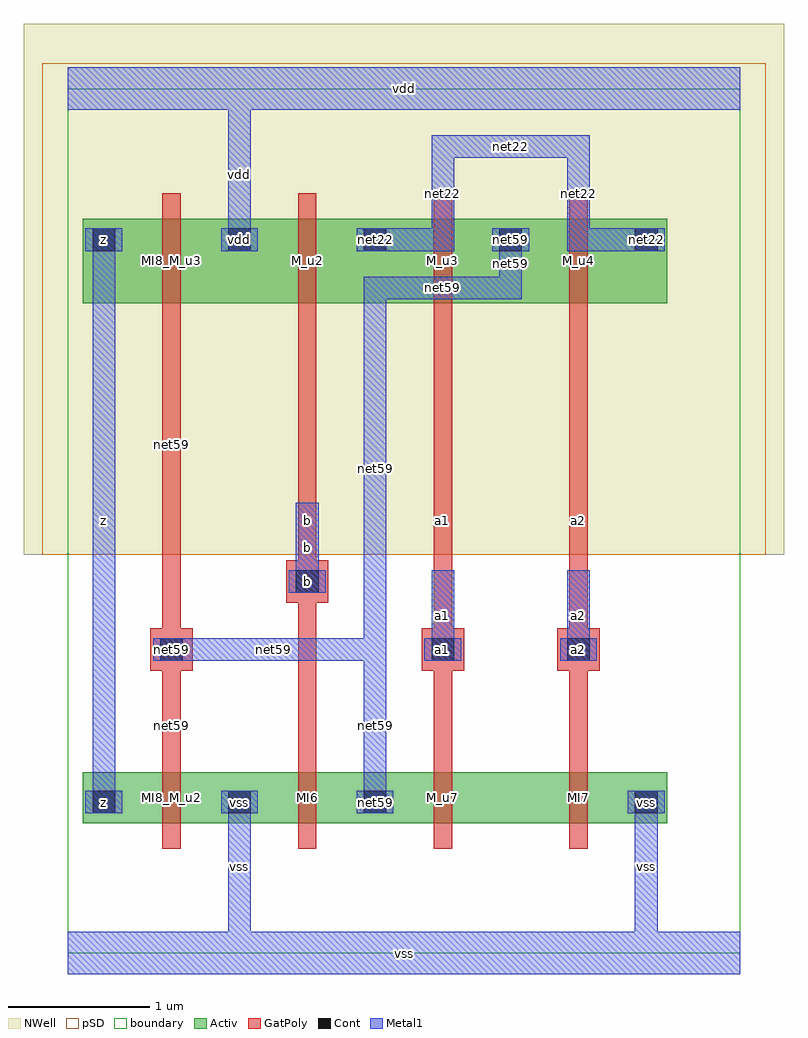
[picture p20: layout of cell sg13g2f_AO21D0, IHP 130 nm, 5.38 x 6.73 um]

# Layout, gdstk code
import gdstk
lib = gdstk.Library(unit=1e-6, precision=1e-09)
def R(c, l, rs):  # rectangles x0, y0, x1, y1
    for r in rs: c.add(gdstk.rectangle(r[:2], r[2:], *l))
def A(c, l, x, y, w, h, nx, ny, dx, dy):  # array of equal rectangles
    R(c, l, [(x+i*dx, y+j*dy, x+i*dx+w, y+j*dy+h) for i in range(nx) for j in range(ny)])
Activ = (1, 0)
GatPoly = (5, 0)
Cont = (6, 0)
Metal1 = (8, 0)
pSD = (14, 0)
NWell = (31, 0)
TEXT = (63, 0)
boundary = (189, 4)

sg13g2f_ao21d0 = lib.new_cell('sg13g2f_AO21D0')
A(sg13g2f_ao21d0, Activ, 0.105, 0.92, 1.26, 0.36, 4, 1, 0.96, 0)
A(sg13g2f_ao21d0, Activ, 0.105, 0.92, 0.3, 0.3, 3, 1, 0.96, 0)
A(sg13g2f_ao21d0, Activ, 0.105, 4.6, 1.26, 0.6, 4, 1, 0.96, 0)
A(sg13g2f_ao21d0, Activ, 0.105, 4.9, 0.3, 0.3, 5, 1, 0.96, 0)
R(sg13g2f_ao21d0, Activ, [(3.945,0.92,4.245,1.22)])
A(sg13g2f_ao21d0, GatPoly, 0.67, 0.74, 0.13, 0.72, 4, 1, 0.96, 0)
A(sg13g2f_ao21d0, GatPoly, 1.63, 1.005, 0.13, 4.11, 3, 1, 0.96, 0)
A(sg13g2f_ao21d0, GatPoly, 0.67, 4.42, 0.13, 0.96, 4, 1, 0.96, 0)
R(sg13g2f_ao21d0, GatPoly, [(0.67,1.005,0.8,2.215), (0.585,2,0.885,2.3), (2.505,2,2.805,2.3), (3.465,2,3.765,2.3), (0.67,2.085,0.8,5.115), (1.545,2.48,1.845,2.78)])
A(sg13g2f_ao21d0, Cont, 0.175, 0.99, 0.16, 0.16, 3, 1, 0.96, 0)
A(sg13g2f_ao21d0, Cont, 0.175, 4.97, 0.16, 0.16, 5, 1, 0.96, 0)
R(sg13g2f_ao21d0, Cont, [(4.015,0.99,4.175,1.15), (0.655,2.07,0.815,2.23), (2.575,2.07,2.735,2.23), (3.535,2.07,3.695,2.23), (1.615,2.55,1.775,2.71)])
A(sg13g2f_ao21d0, Metal1, 0.125, 0.99, 0.26, 0.16, 3, 1, 0.96, 0)
A(sg13g2f_ao21d0, Metal1, 0.125, 4.97, 0.26, 0.16, 5, 1, 0.96, 0)
R(sg13g2f_ao21d0, Metal1, [(0,-0.15,4.76,0.15), (1.135,0.07,1.295,1.15), (4.015,0.07,4.175,1.15), (0.175,0.99,0.335,5.13), (2.095,0.99,2.255,2.23), (3.965,0.99,4.225,1.15), (0.605,2.07,0.865,2.23), (0.655,2.07,2.255,2.23), (2.095,2.07,2.255,4.79), (2.525,2.07,2.785,2.23), (2.575,2.07,2.735,2.71), (3.485,2.07,3.745,2.23), (3.535,2.07,3.695,2.71), (1.565,2.55,1.825,2.71), (1.615,2.55,1.775,3.19), (2.095,4.63,3.215,4.79), (3.055,4.63,3.215,5.13), (1.135,4.97,1.295,6.05), (2.095,4.97,2.735,5.13), (2.575,4.97,2.735,5.79), (3.535,4.97,4.175,5.13), (3.535,4.97,3.695,5.79), (2.575,5.63,3.695,5.79), (0,5.97,4.76,6.27)])
R(sg13g2f_ao21d0, pSD, [(-0.18,2.82,4.94,5.94), (-0.18,5.94,4.94,6.3)])
R(sg13g2f_ao21d0, NWell, [(-0.31,2.82,5.07,6.58)])
R(sg13g2f_ao21d0, boundary, [(0,0,4.76,6.12)])
sg13g2f_ao21d0.add(gdstk.FlexPath([(0.105,0.41),(4.245,0.41)], 0, ends="flush", simple_path=True, layer=63, datatype=0))  # TEXT
sg13g2f_ao21d0.add(gdstk.FlexPath([(0.105,1.07),(4.245,1.07)], 0, ends="flush", simple_path=True, layer=63, datatype=0))  # TEXT
sg13g2f_ao21d0.add(gdstk.FlexPath([(0.105,1.49),(4.245,1.49)], 0, ends="flush", simple_path=True, layer=63, datatype=0))  # TEXT
sg13g2f_ao21d0.add(gdstk.FlexPath([(0.105,2.15),(4.245,2.15)], 0, ends="flush", simple_path=True, layer=63, datatype=0))  # TEXT
sg13g2f_ao21d0.add(gdstk.FlexPath([(0.105,2.63),(4.245,2.63)], 0, ends="flush", simple_path=True, layer=63, datatype=0))  # TEXT
sg13g2f_ao21d0.add(gdstk.FlexPath([(0.105,3.11),(4.245,3.11)], 0, ends="flush", simple_path=True, layer=63, datatype=0))  # TEXT
sg13g2f_ao21d0.add(gdstk.FlexPath([(0.105,4.15),(4.245,4.15)], 0, ends="flush", simple_path=True, layer=63, datatype=0))  # TEXT
sg13g2f_ao21d0.add(gdstk.FlexPath([(0.105,4.71),(4.245,4.71)], 0, ends="flush", simple_path=True, layer=63, datatype=0))  # TEXT
sg13g2f_ao21d0.add(gdstk.FlexPath([(0.105,5.05),(4.245,5.05)], 0, ends="flush", simple_path=True, layer=63, datatype=0))  # TEXT
sg13g2f_ao21d0.add(gdstk.FlexPath([(0.105,5.71),(4.245,5.71)], 0, ends="flush", simple_path=True, layer=63, datatype=0))  # TEXT
sg13g2f_ao21d0.add(gdstk.FlexPath([(0.255,0.07),(0.255,6.05)], 0, ends="flush", simple_path=True, layer=63, datatype=0))  # TEXT
sg13g2f_ao21d0.add(gdstk.FlexPath([(0.735,0.07),(0.735,6.05)], 0, ends="flush", simple_path=True, layer=63, datatype=0))  # TEXT
sg13g2f_ao21d0.add(gdstk.FlexPath([(1.215,0.07),(1.215,6.05)], 0, ends="flush", simple_path=True, layer=63, datatype=0))  # TEXT
sg13g2f_ao21d0.add(gdstk.FlexPath([(1.695,0.07),(1.695,6.05)], 0, ends="flush", simple_path=True, layer=63, datatype=0))  # TEXT
sg13g2f_ao21d0.add(gdstk.FlexPath([(2.175,0.07),(2.175,6.05)], 0, ends="flush", simple_path=True, layer=63, datatype=0))  # TEXT
sg13g2f_ao21d0.add(gdstk.FlexPath([(2.655,0.07),(2.655,6.05)], 0, ends="flush", simple_path=True, layer=63, datatype=0))  # TEXT
sg13g2f_ao21d0.add(gdstk.FlexPath([(3.135,0.07),(3.135,6.05)], 0, ends="flush", simple_path=True, layer=63, datatype=0))  # TEXT
sg13g2f_ao21d0.add(gdstk.FlexPath([(3.615,0.07),(3.615,6.05)], 0, ends="flush", simple_path=True, layer=63, datatype=0))  # TEXT
sg13g2f_ao21d0.add(gdstk.FlexPath([(4.095,0.07),(4.095,6.05)], 0, ends="flush", simple_path=True, layer=63, datatype=0))  # TEXT
sg13g2f_ao21d0.add(gdstk.Label('a2', (3.615,2.15), layer=6, texttype=0))
sg13g2f_ao21d0.add(gdstk.Label('net59', (2.175,1.07), layer=6, texttype=0))
sg13g2f_ao21d0.add(gdstk.Label('net59', (3.135,5.05), layer=6, texttype=0))
sg13g2f_ao21d0.add(gdstk.Label('net59', (0.735,2.15), layer=6, texttype=0))
sg13g2f_ao21d0.add(gdstk.Label('a1', (2.655,2.15), layer=6, texttype=0))
sg13g2f_ao21d0.add(gdstk.Label('b', (1.695,2.63), layer=6, texttype=0))
sg13g2f_ao21d0.add(gdstk.Label('z', (0.255,1.07), layer=6, texttype=0))
sg13g2f_ao21d0.add(gdstk.Label('z', (0.255,5.05), layer=6, texttype=0))
sg13g2f_ao21d0.add(gdstk.Label('net22', (2.175,5.05), layer=6, texttype=0))
sg13g2f_ao21d0.add(gdstk.Label('net22', (4.095,5.05), layer=6, texttype=0))
sg13g2f_ao21d0.add(gdstk.Label('vss', (4.095,1.07), layer=6, texttype=0))
sg13g2f_ao21d0.add(gdstk.Label('vss', (1.215,1.07), layer=6, texttype=0))
sg13g2f_ao21d0.add(gdstk.Label('vdd', (1.215,5.05), layer=6, texttype=0))
sg13g2f_ao21d0.add(gdstk.Label('net59', (2.175,1.07), layer=8, texttype=0))
sg13g2f_ao21d0.add(gdstk.Label('net59', (3.135,5.05), layer=8, texttype=0))
sg13g2f_ao21d0.add(gdstk.Label('net59', (2.175,1.61), layer=8, texttype=0))
sg13g2f_ao21d0.add(gdstk.Label('net59', (1.455,2.15), layer=8, texttype=0))
sg13g2f_ao21d0.add(gdstk.Label('net59', (0.735,2.15), layer=8, texttype=0))
sg13g2f_ao21d0.add(gdstk.Label('net59', (2.175,3.43), layer=8, texttype=0))
sg13g2f_ao21d0.add(gdstk.Label('net59', (2.655,4.71), layer=8, texttype=0))
sg13g2f_ao21d0.add(gdstk.Label('net59', (3.135,4.88), layer=8, texttype=0))
sg13g2f_ao21d0.add(gdstk.Label('net22', (2.175,5.05), layer=8, texttype=0))
sg13g2f_ao21d0.add(gdstk.Label('net22', (4.095,5.05), layer=8, texttype=0))
sg13g2f_ao21d0.add(gdstk.Label('net22', (2.415,5.05), layer=8, texttype=0))
sg13g2f_ao21d0.add(gdstk.Label('net22', (2.655,5.38), layer=8, texttype=0))
sg13g2f_ao21d0.add(gdstk.Label('net22', (3.135,5.71), layer=8, texttype=0))
sg13g2f_ao21d0.add(gdstk.Label('net22', (3.615,5.38), layer=8, texttype=0))
sg13g2f_ao21d0.add(gdstk.Label('net22', (3.855,5.05), layer=8, texttype=0))
sg13g2f_ao21d0.add(gdstk.Label('vss', (4.095,1.07), layer=8, texttype=0))
sg13g2f_ao21d0.add(gdstk.Label('vss', (4.095,0.61), layer=8, texttype=0))
sg13g2f_ao21d0.add(gdstk.Label('vss', (1.215,1.07), layer=8, texttype=0))
sg13g2f_ao21d0.add(gdstk.Label('vss', (1.215,0.61), layer=8, texttype=0))
sg13g2f_ao21d0.add(gdstk.Label('vdd', (1.215,5.05), layer=8, texttype=0))
sg13g2f_ao21d0.add(gdstk.Label('vdd', (1.215,5.51), layer=8, texttype=0))
sg13g2f_ao21d0.add(gdstk.Label('a2', (3.615,2.15), layer=8, texttype=2))
sg13g2f_ao21d0.add(gdstk.Label('a2', (3.615,2.39), layer=8, texttype=2))
sg13g2f_ao21d0.add(gdstk.Label('a1', (2.655,2.15), layer=8, texttype=2))
sg13g2f_ao21d0.add(gdstk.Label('a1', (2.655,2.39), layer=8, texttype=2))
sg13g2f_ao21d0.add(gdstk.Label('b', (1.695,2.63), layer=8, texttype=2))
sg13g2f_ao21d0.add(gdstk.Label('b', (1.695,2.87), layer=8, texttype=2))
sg13g2f_ao21d0.add(gdstk.Label('z', (0.255,1.07), layer=8, texttype=2))
sg13g2f_ao21d0.add(gdstk.Label('z', (0.255,5.05), layer=8, texttype=2))
sg13g2f_ao21d0.add(gdstk.Label('z', (0.255,3.06), layer=8, texttype=2))
sg13g2f_ao21d0.add(gdstk.Label('vss', (2.38,0), layer=8, texttype=2))
sg13g2f_ao21d0.add(gdstk.Label('vdd', (2.38,6.12), layer=8, texttype=2))
sg13g2f_ao21d0.add(gdstk.Label('a2', (3.615,2.15), layer=8, texttype=2))
sg13g2f_ao21d0.add(gdstk.Label('a2', (3.615,2.39), layer=8, texttype=2))
sg13g2f_ao21d0.add(gdstk.Label('a1', (2.655,2.15), layer=8, texttype=2))
sg13g2f_ao21d0.add(gdstk.Label('a1', (2.655,2.39), layer=8, texttype=2))
sg13g2f_ao21d0.add(gdstk.Label('b', (1.695,2.63), layer=8, texttype=2))
sg13g2f_ao21d0.add(gdstk.Label('b', (1.695,2.87), layer=8, texttype=2))
sg13g2f_ao21d0.add(gdstk.Label('z', (0.255,1.07), layer=8, texttype=2))
sg13g2f_ao21d0.add(gdstk.Label('z', (0.255,5.05), layer=8, texttype=2))
sg13g2f_ao21d0.add(gdstk.Label('z', (0.255,3.06), layer=8, texttype=2))
sg13g2f_ao21d0.add(gdstk.Label('vss', (2.38,0), layer=8, texttype=2))
sg13g2f_ao21d0.add(gdstk.Label('vdd', (2.38,6.12), layer=8, texttype=2))
sg13g2f_ao21d0.add(gdstk.Label('MI7', (3.615,1.1), layer=1, texttype=0))
sg13g2f_ao21d0.add(gdstk.Label('M_u7', (2.655,1.1), layer=1, texttype=0))
sg13g2f_ao21d0.add(gdstk.Label('MI6', (1.695,1.1), layer=1, texttype=0))
sg13g2f_ao21d0.add(gdstk.Label('MI8_M_u2', (0.735,1.1), layer=1, texttype=0))
sg13g2f_ao21d0.add(gdstk.Label('M_u3', (2.655,4.9), layer=1, texttype=0))
sg13g2f_ao21d0.add(gdstk.Label('MI8_M_u3', (0.735,4.9), layer=1, texttype=0))
sg13g2f_ao21d0.add(gdstk.Label('M_u4', (3.615,4.9), layer=1, texttype=0))
sg13g2f_ao21d0.add(gdstk.Label('M_u2', (1.695,4.9), layer=1, texttype=0))
sg13g2f_ao21d0.add(gdstk.Label('net59', (2.175,1.07), layer=1, texttype=0))
sg13g2f_ao21d0.add(gdstk.Label('net59', (3.135,5.05), layer=1, texttype=0))
sg13g2f_ao21d0.add(gdstk.Label('z', (0.255,1.07), layer=1, texttype=0))
sg13g2f_ao21d0.add(gdstk.Label('z', (0.255,5.05), layer=1, texttype=0))
sg13g2f_ao21d0.add(gdstk.Label('net22', (2.175,5.05), layer=1, texttype=0))
sg13g2f_ao21d0.add(gdstk.Label('net22', (4.095,5.05), layer=1, texttype=0))
sg13g2f_ao21d0.add(gdstk.Label('vss', (4.095,1.07), layer=1, texttype=0))
sg13g2f_ao21d0.add(gdstk.Label('vss', (1.215,1.07), layer=1, texttype=0))
sg13g2f_ao21d0.add(gdstk.Label('vdd', (1.215,5.05), layer=1, texttype=0))
sg13g2f_ao21d0.add(gdstk.Label('a2', (3.615,2.15), layer=8, texttype=25))
sg13g2f_ao21d0.add(gdstk.Label('a2', (3.615,2.39), layer=8, texttype=25))
sg13g2f_ao21d0.add(gdstk.Label('a1', (2.655,2.15), layer=8, texttype=25))
sg13g2f_ao21d0.add(gdstk.Label('a1', (2.655,2.39), layer=8, texttype=25))
sg13g2f_ao21d0.add(gdstk.Label('b', (1.695,2.63), layer=8, texttype=25))
sg13g2f_ao21d0.add(gdstk.Label('b', (1.695,2.87), layer=8, texttype=25))
sg13g2f_ao21d0.add(gdstk.Label('z', (0.255,1.07), layer=8, texttype=25))
sg13g2f_ao21d0.add(gdstk.Label('z', (0.255,5.05), layer=8, texttype=25))
sg13g2f_ao21d0.add(gdstk.Label('z', (0.255,3.06), layer=8, texttype=25))
sg13g2f_ao21d0.add(gdstk.Label('vss', (2.38,0), layer=8, texttype=25))
sg13g2f_ao21d0.add(gdstk.Label('vdd', (2.38,6.12), layer=8, texttype=25))
sg13g2f_ao21d0.add(gdstk.Label('a2', (3.615,3.06), layer=5, texttype=0))
sg13g2f_ao21d0.add(gdstk.Label('a2', (3.615,2.15), layer=5, texttype=0))
sg13g2f_ao21d0.add(gdstk.Label('net59', (0.735,2.15), layer=5, texttype=0))
sg13g2f_ao21d0.add(gdstk.Label('net59', (0.735,1.61), layer=5, texttype=0))
sg13g2f_ao21d0.add(gdstk.Label('net59', (0.735,3.6), layer=5, texttype=0))
sg13g2f_ao21d0.add(gdstk.Label('a1', (2.655,3.06), layer=5, texttype=0))
sg13g2f_ao21d0.add(gdstk.Label('a1', (2.655,2.15), layer=5, texttype=0))
sg13g2f_ao21d0.add(gdstk.Label('b', (1.695,3.06), layer=5, texttype=0))
sg13g2f_ao21d0.add(gdstk.Label('b', (1.695,2.63), layer=5, texttype=0))

lib.write_gds('sg13g2f_AO21D0.gds')
